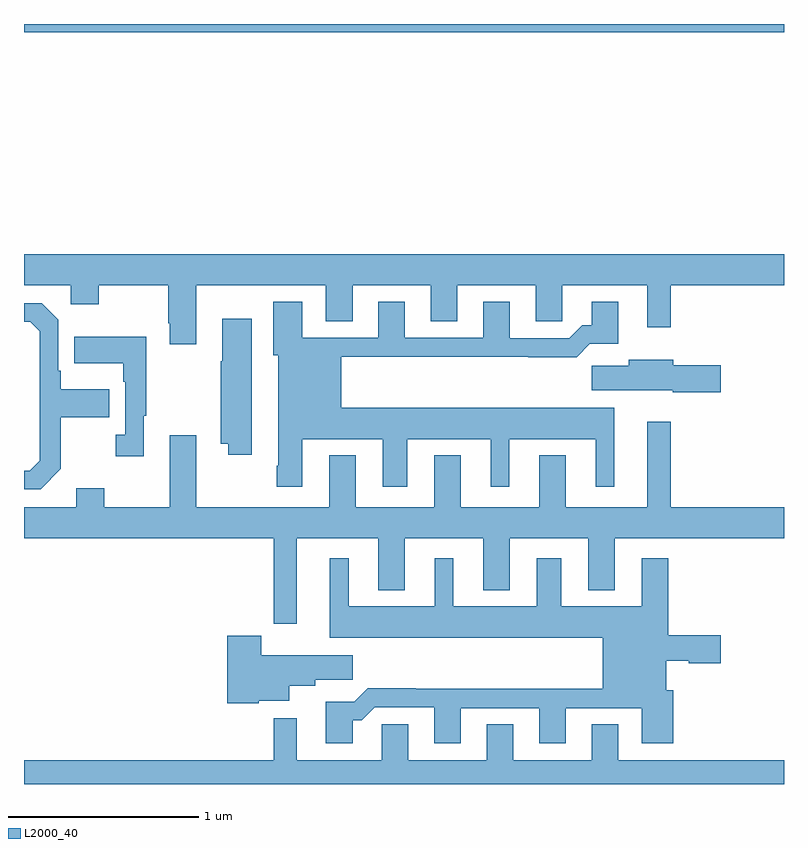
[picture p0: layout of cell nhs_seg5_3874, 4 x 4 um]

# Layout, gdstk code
import gdstk
lib = gdstk.Library(unit=1e-6, precision=1e-09)
def R(c, l, rs):  # rectangles x0, y0, x1, y1
    for r in rs: c.add(gdstk.rectangle(r[:2], r[2:], *l))
def P(c, l, *ps):  # polygons
    for p in ps: c.add(gdstk.Polygon(p, *l))
L2000_40 = (2000, 40)

nhs_seg5_3874 = lib.new_cell('nhs_seg5_3874')
R(nhs_seg5_3874, L2000_40, [(339,860.756,343,860.799)])
P(nhs_seg5_3874, L2000_40, [(339.907,859.424),(340.589,859.424),(340.589,859.234),(340.729,859.234),(340.729,859.424),(341.141,859.424),(341.141,859.234),(341.281,859.234),(341.281,859.424),(341.693,859.424),(341.693,859.234),(341.832,859.234),(341.832,859.424),(342.281,859.424),(342.281,859.203),(342.403,859.203),(342.403,859.424),(343,859.424),(343,859.588),(339,859.588),(339,859.424),(339.246,859.424),(339.246,859.325),(339.393,859.325),(339.393,859.424),(339.76,859.424),(339.76,859.225),(339.767,859.225),(339.767,859.113),(339.907,859.113)],
  [(340.465,858.614),(340.889,858.614),(340.889,858.363),(341.017,858.363),(341.017,858.614),(341.456,858.614),(341.456,858.363),(341.554,858.363),(341.554,858.614),(342.008,858.614),(342.008,858.363),(342.106,858.363),(342.106,858.778),(340.669,858.778),(340.669,859.048),(341.653,859.048),(341.653,859.046),(341.909,859.046),(341.978,859.115),(342.127,859.115),(342.127,859.336),(341.987,859.336),(341.987,859.213),(341.938,859.213),(341.871,859.146),(341.557,859.146),(341.557,859.336),(341.417,859.336),(341.417,859.149),(341.005,859.149),(341.005,859.336),(340.865,859.336),(340.865,859.149),(340.465,859.149),(340.465,859.336),(340.313,859.336),(340.313,859.056),(340.337,859.056),(340.337,858.475),(340.33,858.475),(340.33,858.363),(340.465,858.363)],
  [(339.193,858.457),(339.193,858.73),(339.449,858.73),(339.449,858.877),(339.193,858.877),(339.193,858.973),(339.18,858.973),(339.18,859.242),(339.093,859.329),(339,859.329),(339,859.233),(339.033,859.233),(339.084,859.182),(339.084,858.501),(339.03,858.447),(339,858.447),(339,858.351),(339.087,858.351)],
  [(340.198,859.249),(340.043,859.249),(340.043,859.025),(340.036,859.025),(340.036,858.59),(340.076,858.59),(340.076,858.531),(340.198,858.531)],
  [(339.631,858.737),(339.643,858.737),(339.643,859.153),(339.265,859.153),(339.265,859.013),(339.522,859.013),(339.522,858.917),(339.534,858.917),(339.534,858.638),(339.483,858.638),(339.483,858.525),(339.631,858.525)],
  [(342.667,859.002),(342.418,859.002),(342.418,859.033),(342.182,859.033),(342.182,859.001),(341.988,859.001),(341.988,858.872),(342.414,858.872),(342.414,858.86),(342.667,858.86)],
  [(340.435,858.092),(340.865,858.092),(340.865,857.819),(341.005,857.819),(341.005,858.092),(341.417,858.092),(341.417,857.819),(341.557,857.819),(341.557,858.092),(341.969,858.092),(341.969,857.819),(342.109,857.819),(342.109,858.092),(343,858.092),(343,858.256),(342.403,858.256),(342.403,858.706),(342.281,858.706),(342.281,858.256),(341.851,858.256),(341.851,858.529),(341.711,858.529),(341.711,858.256),(341.299,858.256),(341.299,858.529),(341.159,858.529),(341.159,858.256),(340.747,858.256),(340.747,858.529),(340.607,858.529),(340.607,858.256),(339.907,858.256),(339.907,858.634),(339.767,858.634),(339.767,858.256),(339.423,858.256),(339.423,858.355),(339.275,858.355),(339.275,858.256),(339,858.256),(339,858.092),(340.314,858.092),(340.314,857.643),(340.435,857.643)],
  [(340.729,857.135),(340.778,857.135),(340.845,857.202),(341.159,857.202),(341.159,857.013),(341.299,857.013),(341.299,857.199),(341.711,857.199),(341.711,857.013),(341.851,857.013),(341.851,857.199),(342.251,857.199),(342.251,857.013),(342.416,857.013),(342.416,857.292),(342.379,857.292),(342.379,857.447),(342.499,857.447),(342.499,857.435),(342.667,857.435),(342.667,857.582),(342.392,857.582),(342.392,857.986),(342.251,857.986),(342.251,857.734),(341.827,857.734),(341.827,857.986),(341.699,857.986),(341.699,857.734),(341.26,857.734),(341.26,857.986),(341.162,857.986),(341.162,857.734),(340.708,857.734),(340.708,857.986),(340.61,857.986),(340.61,857.57),(342.047,857.57),(342.047,857.3),(341.063,857.3),(341.063,857.303),(340.808,857.303),(340.738,857.233),(340.589,857.233),(340.589,857.013),(340.729,857.013)],
  [(340.236,857.237),(340.396,857.237),(340.396,857.315),(340.534,857.315),(340.534,857.347),(340.729,857.347),(340.729,857.476),(340.248,857.476),(340.248,857.578),(340.07,857.578),(340.07,857.225),(340.236,857.225)],
  [(343,856.924),(342.127,856.924),(342.127,857.114),(341.987,857.114),(341.987,856.924),(341.575,856.924),(341.575,857.114),(341.435,857.114),(341.435,856.924),(341.023,856.924),(341.023,857.114),(340.884,857.114),(340.884,856.924),(340.435,856.924),(340.435,857.146),(340.314,857.146),(340.314,856.924),(339,856.924),(339,856.799),(343,856.799)])

lib.write_gds('nhs_seg5_3874.gds')
